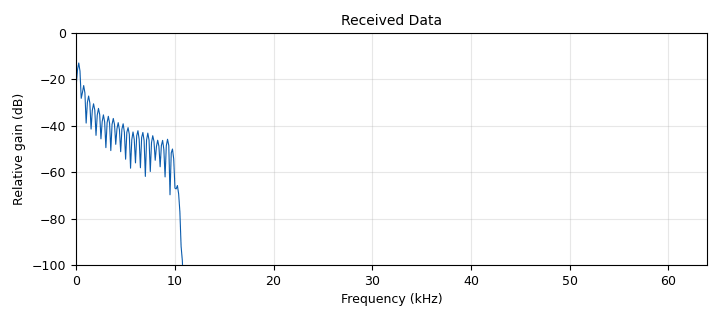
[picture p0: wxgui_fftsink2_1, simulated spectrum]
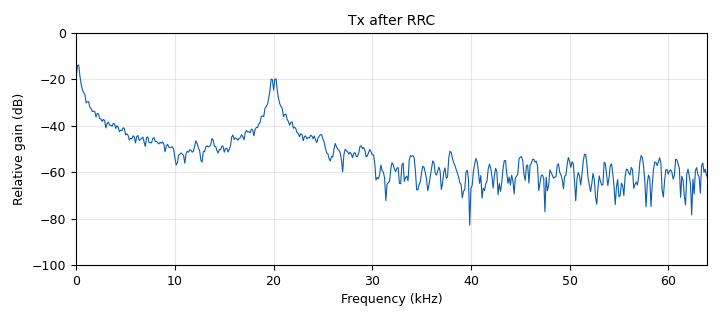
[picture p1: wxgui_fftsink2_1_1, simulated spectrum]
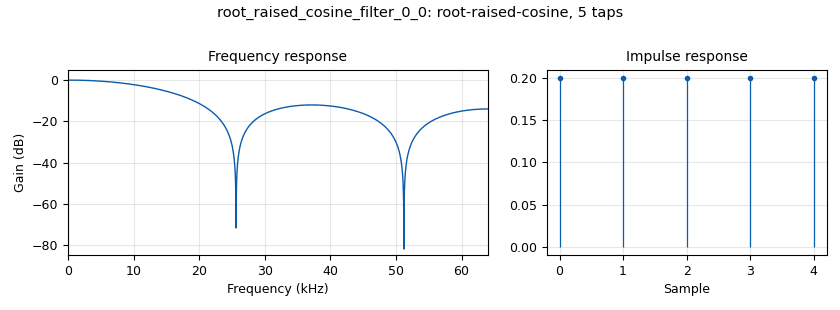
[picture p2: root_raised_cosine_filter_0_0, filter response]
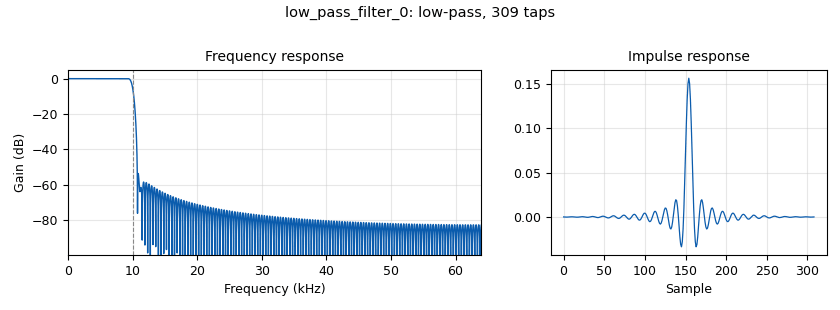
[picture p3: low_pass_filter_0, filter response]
<?xml version='1.0' encoding='utf-8'?>
<?grc format='1' created='3.7.5'?>
<flow_graph>
<block>
<key>options</key>
<param><key>id</key><value>top_block</value></param>
<param><key>generate_options</key><value>wx_gui</value></param>
<param><key>category</key><value>Custom</value></param>
</block>
<block>
<key>variable</key>
<param><key>id</key><value>samp_rate</value></param>
<param><key>value</key><value>32000*4</value></param>
</block>
<block>
<key>variable_slider</key>
<param><key>id</key><value>taps</value></param>
<param><key>label</key><value>Taps</value></param>
<param><key>value</key><value>5</value></param>
<param><key>min</key><value>0</value></param>
<param><key>max</key><value>100</value></param>
<param><key>num_steps</key><value>100</value></param>
<param><key>style</key><value>wx.SL_HORIZONTAL</value></param>
<param><key>converver</key><value>int_converter</value></param>
</block>
<block>
<key>wxgui_scopesink2</key>
<param><key>id</key><value>wxgui_scopesink2_0_2</value></param>
<param><key>_enabled</key><value>False</value></param>
<param><key>type</key><value>float</value></param>
<param><key>title</key><value>Carrier</value></param>
<param><key>samp_rate</key><value>samp_rate</value></param>
<param><key>v_scale</key><value>0</value></param>
<param><key>v_offset</key><value>0</value></param>
<param><key>t_scale</key><value>0</value></param>
<param><key>ac_couple</key><value>False</value></param>
<param><key>xy_mode</key><value>False</value></param>
<param><key>num_inputs</key><value>1</value></param>
<param><key>trig_mode</key><value>wxgui.TRIG_MODE_AUTO</value></param>
<param><key>y_axis_label</key><value>Counts</value></param>
</block>
<block>
<key>wxgui_scopesink2</key>
<param><key>id</key><value>wxgui_scopesink2_0</value></param>
<param><key>_enabled</key><value>False</value></param>
<param><key>type</key><value>float</value></param>
<param><key>title</key><value>Transmitted Data</value></param>
<param><key>samp_rate</key><value>samp_rate</value></param>
<param><key>v_scale</key><value>0</value></param>
<param><key>v_offset</key><value>0</value></param>
<param><key>t_scale</key><value>0</value></param>
<param><key>ac_couple</key><value>False</value></param>
<param><key>xy_mode</key><value>False</value></param>
<param><key>num_inputs</key><value>1</value></param>
<param><key>trig_mode</key><value>wxgui.TRIG_MODE_AUTO</value></param>
<param><key>y_axis_label</key><value>Counts</value></param>
</block>
<block>
<key>wxgui_scopesink2</key>
<param><key>id</key><value>wxgui_scopesink2_0_0</value></param>
<param><key>_enabled</key><value>False</value></param>
<param><key>type</key><value>float</value></param>
<param><key>title</key><value>Data</value></param>
<param><key>samp_rate</key><value>samp_rate</value></param>
<param><key>v_scale</key><value>0</value></param>
<param><key>v_offset</key><value>0</value></param>
<param><key>t_scale</key><value>0</value></param>
<param><key>ac_couple</key><value>False</value></param>
<param><key>xy_mode</key><value>False</value></param>
<param><key>num_inputs</key><value>1</value></param>
<param><key>trig_mode</key><value>wxgui.TRIG_MODE_AUTO</value></param>
<param><key>y_axis_label</key><value>Counts</value></param>
</block>
<block>
<key>blocks_null_sink</key>
<param><key>id</key><value>blocks_null_sink_2</value></param>
<param><key>_enabled</key><value>False</value></param>
<param><key>type</key><value>float</value></param>
<param><key>bus_conns</key><value>[[0,],]</value></param>
</block>
<block>
<key>analog_sig_source_x</key>
<param><key>id</key><value>analog_sig_source_x_0</value></param>
<param><key>_enabled</key><value>False</value></param>
<param><key>type</key><value>float</value></param>
<param><key>samp_rate</key><value>samp_rate</value></param>
<param><key>waveform</key><value>analog.GR_SQR_WAVE</value></param>
<param><key>freq</key><value>50</value></param>
<param><key>amp</key><value>2</value></param>
<param><key>offset</key><value>-1</value></param>
</block>
<block>
<key>blocks_throttle</key>
<param><key>id</key><value>blocks_throttle_0</value></param>
<param><key>type</key><value>float</value></param>
<param><key>samples_per_second</key><value>samp_rate</value></param>
</block>
<block>
<key>analog_noise_source_x</key>
<param><key>id</key><value>analog_noise_source_x_0</value></param>
<param><key>type</key><value>float</value></param>
<param><key>noise_type</key><value>analog.GR_GAUSSIAN</value></param>
<param><key>amp</key><value>noise</value></param>
<param><key>seed</key><value>0</value></param>
</block>
<block>
<key>variable_slider</key>
<param><key>id</key><value>noise</value></param>
<param><key>label</key><value>Noise</value></param>
<param><key>value</key><value>50e-3</value></param>
<param><key>min</key><value>0</value></param>
<param><key>max</key><value>1</value></param>
<param><key>num_steps</key><value>100</value></param>
<param><key>style</key><value>wx.SL_HORIZONTAL</value></param>
<param><key>converver</key><value>float_converter</value></param>
</block>
<block>
<key>blocks_null_sink</key>
<param><key>id</key><value>blocks_null_sink_1</value></param>
<param><key>type</key><value>float</value></param>
<param><key>bus_conns</key><value>[[0,],]</value></param>
</block>
<block>
<key>blocks_add_xx</key>
<param><key>id</key><value>blocks_add_xx_0</value></param>
<param><key>type</key><value>float</value></param>
</block>
<block>
<key>analog_sig_source_x</key>
<param><key>id</key><value>analog_sig_source_x_1</value></param>
<param><key>type</key><value>float</value></param>
<param><key>samp_rate</key><value>samp_rate</value></param>
<param><key>waveform</key><value>analog.GR_SIN_WAVE</value></param>
<param><key>freq</key><value>10000</value></param>
<param><key>amp</key><value>1</value></param>
<param><key>offset</key><value>0</value></param>
</block>
<block>
<key>blocks_null_sink</key>
<param><key>id</key><value>blocks_null_sink_0</value></param>
<param><key>_enabled</key><value>False</value></param>
<param><key>type</key><value>float</value></param>
<param><key>bus_conns</key><value>[[0,],]</value></param>
</block>
<block>
<key>fec_ber_bf</key>
<param><key>id</key><value>fec_ber_bf_0</value></param>
<param><key>_enabled</key><value>False</value></param>
<param><key>test_mode</key><value>False</value></param>
</block>
<block>
<key>wxgui_numbersink2</key>
<param><key>id</key><value>wxgui_numbersink2_0</value></param>
<param><key>_enabled</key><value>False</value></param>
<param><key>type</key><value>float</value></param>
<param><key>title</key><value>Number Plot</value></param>
<param><key>units</key><value>Units</value></param>
<param><key>samp_rate</key><value>samp_rate</value></param>
<param><key>min_value</key><value>-100</value></param>
<param><key>max_value</key><value>100</value></param>
<param><key>factor</key><value>1.0</value></param>
<param><key>decimal_places</key><value>10</value></param>
<param><key>ref_level</key><value>0</value></param>
<param><key>number_rate</key><value>15</value></param>
<param><key>peak_hold</key><value>False</value></param>
<param><key>average</key><value>False</value></param>
<param><key>avg_alpha</key><value>0</value></param>
<param><key>show_gauge</key><value>True</value></param>
</block>
<block>
<key>blocks_float_to_uchar</key>
<param><key>id</key><value>blocks_float_to_uchar_0</value></param>
<param><key>_enabled</key><value>False</value></param>
</block>
<block>
<key>analog_random_source_x</key>
<param><key>id</key><value>analog_random_source_x_0</value></param>
<param><key>type</key><value>byte</value></param>
<param><key>min</key><value>0</value></param>
<param><key>max</key><value>2</value></param>
<param><key>num_samps</key><value>10000000</value></param>
<param><key>repeat</key><value>True</value></param>
</block>
<block>
<key>low_pass_filter</key>
<param><key>id</key><value>low_pass_filter_1</value></param>
<param><key>_enabled</key><value>False</value></param>
<param><key>type</key><value>fir_filter_fff</value></param>
<param><key>decim</key><value>1</value></param>
<param><key>gain</key><value>1</value></param>
<param><key>samp_rate</key><value>samp_rate</value></param>
<param><key>win</key><value>firdes.WIN_HAMMING</value></param>
</block>
<block>
<key>blocks_add_const_vxx</key>
<param><key>id</key><value>blocks_add_const_vxx_0</value></param>
<param><key>type</key><value>float</value></param>
<param><key>const</key><value>-1</value></param>
</block>
<block>
<key>blocks_uchar_to_float</key>
<param><key>id</key><value>blocks_uchar_to_float_0</value></param>
</block>
<block>
<key>blocks_multiply_const_vxx</key>
<param><key>id</key><value>blocks_multiply_const_vxx_0</value></param>
<param><key>type</key><value>float</value></param>
<param><key>const</key><value>2</value></param>
</block>
<block>
<key>blocks_repeat</key>
<param><key>id</key><value>blocks_repeat_0</value></param>
<param><key>type</key><value>float</value></param>
<param><key>interp</key><value>256/2</value></param>
</block>
<block>
<key>blocks_multiply_xx</key>
<param><key>id</key><value>blocks_multiply_xx_0</value></param>
<param><key>type</key><value>float</value></param>
</block>
<block>
<key>root_raised_cosine_filter</key>
<param><key>id</key><value>root_raised_cosine_filter_0_0</value></param>
<param><key>type</key><value>fir_filter_fff</value></param>
<param><key>decim</key><value>1</value></param>
<param><key>gain</key><value>1</value></param>
<param><key>samp_rate</key><value>samp_rate</value></param>
<param><key>sym_rate</key><value>1.0</value></param>
<param><key>alpha</key><value>0.35</value></param>
<param><key>ntaps</key><value>taps</value></param>
</block>
<block>
<key>blocks_throttle</key>
<param><key>id</key><value>blocks_throttle_0_0</value></param>
<param><key>type</key><value>float</value></param>
<param><key>samples_per_second</key><value>samp_rate</value></param>
</block>
<block>
<key>low_pass_filter</key>
<param><key>id</key><value>low_pass_filter_0</value></param>
<param><key>type</key><value>fir_filter_fff</value></param>
<param><key>decim</key><value>1</value></param>
<param><key>gain</key><value>1</value></param>
<param><key>samp_rate</key><value>samp_rate</value></param>
<param><key>cutoff_freq</key><value>10000</value></param>
<param><key>width</key><value>1000</value></param>
<param><key>win</key><value>firdes.WIN_HAMMING</value></param>
</block>
<block>
<key>wxgui_scopesink2</key>
<param><key>id</key><value>wxgui_scopesink2_0_1</value></param>
<param><key>_enabled</key><value>False</value></param>
<param><key>type</key><value>float</value></param>
<param><key>title</key><value>Received Data</value></param>
<param><key>samp_rate</key><value>samp_rate</value></param>
<param><key>v_scale</key><value>0</value></param>
<param><key>v_offset</key><value>0</value></param>
<param><key>t_scale</key><value>0</value></param>
<param><key>ac_couple</key><value>False</value></param>
<param><key>xy_mode</key><value>False</value></param>
<param><key>num_inputs</key><value>1</value></param>
<param><key>trig_mode</key><value>wxgui.TRIG_MODE_AUTO</value></param>
<param><key>y_axis_label</key><value>Counts</value></param>
</block>
<block>
<key>wxgui_scopesink2</key>
<param><key>id</key><value>wxgui_scopesink2_1</value></param>
<param><key>_enabled</key><value>False</value></param>
<param><key>type</key><value>float</value></param>
<param><key>title</key><value>Scope Plot</value></param>
<param><key>samp_rate</key><value>samp_rate</value></param>
<param><key>v_scale</key><value>0</value></param>
<param><key>v_offset</key><value>0</value></param>
<param><key>t_scale</key><value>0</value></param>
<param><key>ac_couple</key><value>False</value></param>
<param><key>xy_mode</key><value>False</value></param>
<param><key>num_inputs</key><value>1</value></param>
<param><key>trig_mode</key><value>wxgui.TRIG_MODE_AUTO</value></param>
<param><key>y_axis_label</key><value>Counts</value></param>
</block>
<block>
<key>wxgui_fftsink2</key>
<param><key>id</key><value>wxgui_fftsink2_1</value></param>
<param><key>type</key><value>float</value></param>
<param><key>title</key><value>Received Data</value></param>
<param><key>samp_rate</key><value>samp_rate</value></param>
<param><key>baseband_freq</key><value>0</value></param>
<param><key>y_per_div</key><value>10</value></param>
<param><key>y_divs</key><value>10</value></param>
<param><key>ref_level</key><value>0</value></param>
<param><key>ref_scale</key><value>2.0</value></param>
<param><key>fft_size</key><value>1024</value></param>
<param><key>fft_rate</key><value>15</value></param>
<param><key>peak_hold</key><value>False</value></param>
<param><key>average</key><value>False</value></param>
<param><key>avg_alpha</key><value>0</value></param>
<param><key>win</key><value>None</value></param>
<param><key>grid_pos</key><value>(0,1,1,1)</value></param>
<param><key>freqvar</key><value>None</value></param>
</block>
<block>
<key>root_raised_cosine_filter</key>
<param><key>id</key><value>root_raised_cosine_filter_0</value></param>
<param><key>type</key><value>fir_filter_fff</value></param>
<param><key>decim</key><value>1</value></param>
<param><key>gain</key><value>1</value></param>
<param><key>samp_rate</key><value>samp_rate</value></param>
<param><key>sym_rate</key><value>1.0</value></param>
<param><key>alpha</key><value>0.35</value></param>
<param><key>ntaps</key><value>taps</value></param>
</block>
<block>
<key>blocks_multiply_xx</key>
<param><key>id</key><value>blocks_multiply_xx_1</value></param>
<param><key>type</key><value>float</value></param>
</block>
<block>
<key>wxgui_fftsink2</key>
<param><key>id</key><value>wxgui_fftsink2_0</value></param>
<param><key>_enabled</key><value>False</value></param>
<param><key>type</key><value>float</value></param>
<param><key>title</key><value>Transmit</value></param>
<param><key>samp_rate</key><value>samp_rate</value></param>
<param><key>baseband_freq</key><value>0</value></param>
<param><key>y_per_div</key><value>10</value></param>
<param><key>y_divs</key><value>10</value></param>
<param><key>ref_level</key><value>0</value></param>
<param><key>ref_scale</key><value>2.0</value></param>
<param><key>fft_size</key><value>1024</value></param>
<param><key>fft_rate</key><value>15</value></param>
<param><key>peak_hold</key><value>False</value></param>
<param><key>average</key><value>False</value></param>
<param><key>avg_alpha</key><value>0</value></param>
<param><key>win</key><value>None</value></param>
<param><key>grid_pos</key><value>(0,0,1,1)</value></param>
<param><key>freqvar</key><value>None</value></param>
</block>
<block>
<key>wxgui_fftsink2</key>
<param><key>id</key><value>wxgui_fftsink2_1_1</value></param>
<param><key>type</key><value>float</value></param>
<param><key>title</key><value>Tx after RRC</value></param>
<param><key>samp_rate</key><value>samp_rate</value></param>
<param><key>baseband_freq</key><value>0</value></param>
<param><key>y_per_div</key><value>10</value></param>
<param><key>y_divs</key><value>10</value></param>
<param><key>ref_level</key><value>0</value></param>
<param><key>ref_scale</key><value>2.0</value></param>
<param><key>fft_size</key><value>1024</value></param>
<param><key>fft_rate</key><value>15</value></param>
<param><key>peak_hold</key><value>False</value></param>
<param><key>average</key><value>False</value></param>
<param><key>avg_alpha</key><value>0</value></param>
<param><key>win</key><value>None</value></param>
<param><key>grid_pos</key><value>(0,0,1,1)</value></param>
<param><key>freqvar</key><value>None</value></param>
</block>
<connection><source_block_id>analog_sig_source_x_1</source_block_id><sink_block_id>blocks_multiply_xx_0</sink_block_id><source_key>0</source_key><sink_key>1</sink_key></connection>
<connection><source_block_id>analog_sig_source_x_0</source_block_id><sink_block_id>blocks_multiply_xx_0</sink_block_id><source_key>0</source_key><sink_key>0</sink_key></connection>
<connection><source_block_id>blocks_throttle_0</source_block_id><sink_block_id>wxgui_scopesink2_0</sink_block_id><source_key>0</source_key><sink_key>0</sink_key></connection>
<connection><source_block_id>analog_sig_source_x_0</source_block_id><sink_block_id>wxgui_scopesink2_0_0</sink_block_id><source_key>0</source_key><sink_key>0</sink_key></connection>
<connection><source_block_id>analog_sig_source_x_1</source_block_id><sink_block_id>wxgui_scopesink2_0_2</sink_block_id><source_key>0</source_key><sink_key>0</sink_key></connection>
<connection><source_block_id>blocks_throttle_0</source_block_id><sink_block_id>blocks_null_sink_1</sink_block_id><source_key>0</source_key><sink_key>0</sink_key></connection>
<connection><source_block_id>analog_sig_source_x_1</source_block_id><sink_block_id>blocks_multiply_xx_1</sink_block_id><source_key>0</source_key><sink_key>1</sink_key></connection>
<connection><source_block_id>blocks_add_xx_0</source_block_id><sink_block_id>blocks_multiply_xx_1</sink_block_id><source_key>0</source_key><sink_key>0</sink_key></connection>
<connection><source_block_id>blocks_add_xx_0</source_block_id><sink_block_id>blocks_throttle_0</sink_block_id><source_key>0</source_key><sink_key>0</sink_key></connection>
<connection><source_block_id>analog_noise_source_x_0</source_block_id><sink_block_id>blocks_add_xx_0</sink_block_id><source_key>0</source_key><sink_key>0</sink_key></connection>
<connection><source_block_id>blocks_multiply_xx_1</source_block_id><sink_block_id>blocks_throttle_0_0</sink_block_id><source_key>0</source_key><sink_key>0</sink_key></connection>
<connection><source_block_id>blocks_throttle_0</source_block_id><sink_block_id>wxgui_fftsink2_0</sink_block_id><source_key>0</source_key><sink_key>0</sink_key></connection>
<connection><source_block_id>low_pass_filter_0</source_block_id><sink_block_id>wxgui_fftsink2_1</sink_block_id><source_key>0</source_key><sink_key>0</sink_key></connection>
<connection><source_block_id>low_pass_filter_0</source_block_id><sink_block_id>wxgui_scopesink2_0_1</sink_block_id><source_key>0</source_key><sink_key>0</sink_key></connection>
<connection><source_block_id>blocks_multiply_xx_0</source_block_id><sink_block_id>blocks_add_xx_0</sink_block_id><source_key>0</source_key><sink_key>1</sink_key></connection>
<connection><source_block_id>low_pass_filter_0</source_block_id><sink_block_id>blocks_float_to_uchar_0</sink_block_id><source_key>0</source_key><sink_key>0</sink_key></connection>
<connection><source_block_id>blocks_float_to_uchar_0</source_block_id><sink_block_id>fec_ber_bf_0</sink_block_id><source_key>0</source_key><sink_key>0</sink_key></connection>
<connection><source_block_id>fec_ber_bf_0</source_block_id><sink_block_id>wxgui_numbersink2_0</sink_block_id><source_key>0</source_key><sink_key>0</sink_key></connection>
<connection><source_block_id>analog_random_source_x_0</source_block_id><sink_block_id>fec_ber_bf_0</sink_block_id><source_key>0</source_key><sink_key>1</sink_key></connection>
<connection><source_block_id>blocks_repeat_0</source_block_id><sink_block_id>blocks_null_sink_2</sink_block_id><source_key>0</source_key><sink_key>0</sink_key></connection>
<connection><source_block_id>blocks_repeat_0</source_block_id><sink_block_id>wxgui_scopesink2_1</sink_block_id><source_key>0</source_key><sink_key>0</sink_key></connection>
<connection><source_block_id>blocks_add_const_vxx_0</source_block_id><sink_block_id>blocks_repeat_0</sink_block_id><source_key>0</source_key><sink_key>0</sink_key></connection>
<connection><source_block_id>blocks_multiply_const_vxx_0</source_block_id><sink_block_id>blocks_add_const_vxx_0</sink_block_id><source_key>0</source_key><sink_key>0</sink_key></connection>
<connection><source_block_id>blocks_uchar_to_float_0</source_block_id><sink_block_id>blocks_multiply_const_vxx_0</sink_block_id><source_key>0</source_key><sink_key>0</sink_key></connection>
<connection><source_block_id>analog_random_source_x_0</source_block_id><sink_block_id>blocks_uchar_to_float_0</sink_block_id><source_key>0</source_key><sink_key>0</sink_key></connection>
<connection><source_block_id>blocks_repeat_0</source_block_id><sink_block_id>root_raised_cosine_filter_0_0</sink_block_id><source_key>0</source_key><sink_key>0</sink_key></connection>
<connection><source_block_id>root_raised_cosine_filter_0_0</source_block_id><sink_block_id>blocks_multiply_xx_0</sink_block_id><source_key>0</source_key><sink_key>0</sink_key></connection>
<connection><source_block_id>blocks_throttle_0_0</source_block_id><sink_block_id>root_raised_cosine_filter_0</sink_block_id><source_key>0</source_key><sink_key>0</sink_key></connection>
<connection><source_block_id>root_raised_cosine_filter_0</source_block_id><sink_block_id>low_pass_filter_0</sink_block_id><source_key>0</source_key><sink_key>0</sink_key></connection>
<connection><source_block_id>blocks_multiply_xx_1</source_block_id><sink_block_id>wxgui_fftsink2_1_1</sink_block_id><source_key>0</source_key><sink_key>0</sink_key></connection>
</flow_graph>
